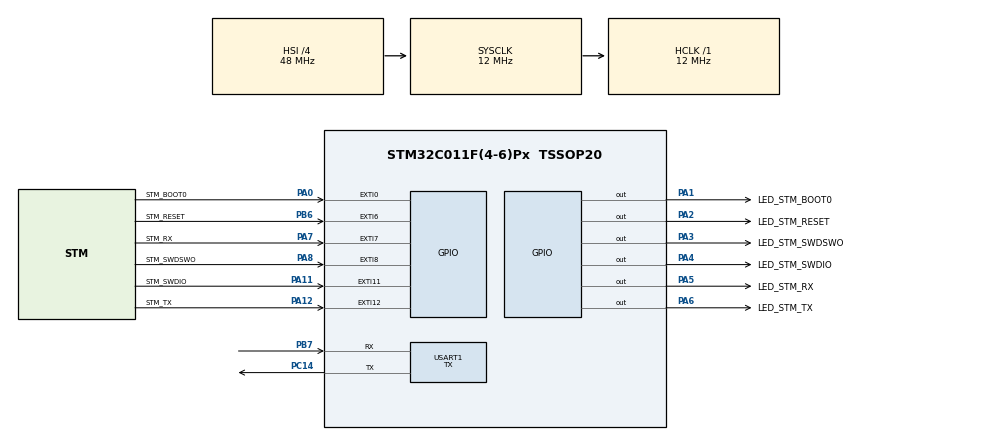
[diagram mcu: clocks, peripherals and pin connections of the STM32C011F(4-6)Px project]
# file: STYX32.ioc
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Mcu.Family=STM32C0
Mcu.Name=STM32C011F(4-6)Px
Mcu.Package=TSSOP20
NVIC.EXTI0_1_IRQn=true\:0\:0\:false\:false\:true\:true\:true\:true
NVIC.EXTI4_15_IRQn=true\:0\:0\:false\:false\:true\:true\:true\:true
PA0.GPIO_Label=STM_BOOT0
PA0.Signal=GPXTI0
PA1.GPIO_Label=LED_STM_BOOT0
PA1.Signal=GPIO_Output
PA11\ [PA9].GPIO_Label=STM_SWDIO
PA11\ [PA9].GPIO_ModeDefaultEXTI=GPIO_MODE_IT_FALLING
PA11\ [PA9].Signal=GPXTI11
PA12\ [PA10].GPIO_Label=STM_TX
PA12\ [PA10].GPIO_ModeDefaultEXTI=GPIO_MODE_IT_FALLING
PA12\ [PA10].GPIO_PuPd=GPIO_PULLUP
PA12\ [PA10].Signal=GPXTI12
PA13.Mode=Serial_Wire
PA13.Signal=DEBUG_SWDIO
PA14-BOOT0.Mode=Serial_Wire
PA14-BOOT0.Signal=DEBUG_SWCLK
PA2.GPIO_Label=LED_STM_RESET
PA2.Signal=GPIO_Output
PA3.GPIO_Label=LED_STM_SWDSWO
PA3.Signal=GPIO_Output
PA4.GPIO_Label=LED_STM_SWDIO
PA4.Signal=GPIO_Output
PA5.GPIO_Label=LED_STM_RX
PA5.Signal=GPIO_Output
PA6.GPIO_Label=LED_STM_TX
PA6.Signal=GPIO_Output
PA7.GPIO_Label=STM_RX
PA7.GPIO_ModeDefaultEXTI=GPIO_MODE_IT_FALLING
PA7.GPIO_PuPd=GPIO_PULLUP
PA7.Signal=GPXTI7
PA8.GPIO_Label=STM_SWDSWO
PA8.GPIO_ModeDefaultEXTI=GPIO_MODE_IT_FALLING
PA8.Signal=GPXTI8
PB6.GPIO_Label=STM_RESET
PB6.GPIO_ModeDefaultEXTI=GPIO_MODE_IT_FALLING
PB6.Signal=GPXTI6
PB7.Mode=Asynchronous
PB7.Signal=USART1_RX
PC14-OSCX_IN\ (PC14).Mode=Asynchronous
PC14-OSCX_IN\ (PC14).Signal=USART1_TX
ProjectManager.HeapSize=0x200
ProjectManager.StackSize=0x400
ProjectManager.TargetToolchain=STM32CubeIDE
RCC.ADCFreq_Value=12000000
RCC.AHBFreq_Value=12000000
RCC.CortexFreq_Value=12000000
RCC.EXTERNAL_CLOCK_VALUE=12288000
RCC.HCLKFreq_Value=12000000
RCC.HSE_VALUE=8000000
RCC.HSI_VALUE=48000000
RCC.LSE_VALUE=32768
RCC.SYSCLKFreq_VALUE=12000000
USART1.Mode=MODE_TX
USART1.VirtualMode-Asynchronous=VM_ASYNC
board=custom

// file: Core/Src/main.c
/* USER CODE BEGIN Header */
/**
 ******************************************************************************
 * @file           : main.c
 * @brief          : Main program body
 ******************************************************************************
 * @attention
 *
 * Copyright (c) 2026 STMicroelectronics.
 * All rights reserved.
 *
 * This software is licensed under terms that can be found in the LICENSE file
 * in the root directory of this software component.
 * If no LICENSE file comes with this software, it is provided AS-IS.
 *
 ******************************************************************************
 */
/* USER CODE END Header */
#include "main.h"

/* USER CODE BEGIN Includes */
#include <stdio.h>
/* USER CODE END Includes */

/* USER CODE BEGIN PD */

#define DELAY 150
#define MASK_STM_TX 32
#define MASK_STM_RX 16
#define MASK_STM_SWDIO 8
#define MASK_STM_SWDSWO 4
#define MASK_STM_RESET 2
#define MASK_STM_BOOT0 1

uint32_t START_TX = 0;
uint32_t START_RX = 0;
uint32_t START_SWDIO = 0;
uint32_t START_SWDSWO = 0;
uint32_t START_RESET = 0;
uint32_t START_BOOT0 = 0;

/* USER CODE END PD */

/* USER CODE BEGIN PM */

#define PUTCHAR_PROTOTYPE int __io_putchar(int ch)

/* USER CODE END PM */

UART_HandleTypeDef huart1;

/* USER CODE BEGIN PV */
volatile uint8_t led_status = 0x00;
/* USER CODE END PV */

void SystemClock_Config(void);
static void MX_GPIO_Init(void);
static void MX_USART1_UART_Init(void);

/* USER CODE BEGIN 0 */

/* USER CODE END PFP */

/* Private user code ---------------------------------------------------------*/
/* USER CODE BEGIN 0 */

PUTCHAR_PROTOTYPE {
	HAL_UART_Transmit(&huart1, (uint8_t*) &ch, 1, 0xFFFF);
	return ch;
}

void HAL_GPIO_EXTI_Rising_Callback(uint16_t pin) {
	if (pin == STM_BOOT0_Pin) {
		led_status |= MASK_STM_BOOT0;
	}
}

void HAL_GPIO_EXTI_Falling_Callback(uint16_t pin) {
	// UART lines idle high: the start bit is a falling edge
	if (pin == STM_TX_Pin) {
		led_status |= MASK_STM_TX;
	}
	if (pin == STM_RX_Pin) {
		led_status |= MASK_STM_RX;
	}
	if (pin == STM_SWDIO_Pin) {
		led_status |= MASK_STM_SWDIO;
	}
	if (pin == STM_SWDSWO_Pin) {
		led_status |= MASK_STM_SWDSWO;
	}
	if (pin == STM_RESET_Pin) {
		led_status |= MASK_STM_RESET;
	}
}

void leds_on() {
	uint8_t local = led_status;
	if (local == 0) {
		return;
	}
	led_status = 0;
	uint32_t now = HAL_GetTick() + DELAY;

	if (local & MASK_STM_TX) {
		START_TX = now;
		HAL_GPIO_WritePin(LED_STM_TX_GPIO_Port, LED_STM_TX_Pin, GPIO_PIN_SET);
	}
	if (local & MASK_STM_RX) {
		START_RX = now;
		HAL_GPIO_WritePin(LED_STM_RX_GPIO_Port, LED_STM_RX_Pin, GPIO_PIN_SET);
	}
	if (local & MASK_STM_SWDIO) {
		START_SWDIO = now;
		HAL_GPIO_WritePin(LED_STM_SWDIO_GPIO_Port, LED_STM_SWDIO_Pin, GPIO_PIN_SET);
	}
	if (local & MASK_STM_SWDSWO) {
		START_SWDSWO = now;
		HAL_GPIO_WritePin(LED_STM_SWDSWO_GPIO_Port, LED_STM_SWDSWO_Pin, GPIO_PIN_SET);
	}
	if (local & MASK_STM_RESET) {
		START_RESET = now;
		HAL_GPIO_WritePin(LED_STM_RESET_GPIO_Port, LED_STM_RESET_Pin, GPIO_PIN_SET);
	}
	if (local & MASK_STM_BOOT0) {
		START_BOOT0 = now;
		HAL_GPIO_WritePin(LED_STM_BOOT0_GPIO_Port, LED_STM_BOOT0_Pin, GPIO_PIN_SET);
	}
}

void leds_off() {
	uint32_t now = HAL_GetTick();

	if (now > START_TX && HAL_GPIO_ReadPin(STM_TX_GPIO_Port, STM_TX_Pin) != 0) {
		HAL_GPIO_WritePin(LED_STM_TX_GPIO_Port, LED_STM_TX_Pin, GPIO_PIN_RESET);
	}
	if (now > START_RX && HAL_GPIO_ReadPin(STM_RX_GPIO_Port, STM_RX_Pin) != 0) {
		HAL_GPIO_WritePin(LED_STM_RX_GPIO_Port, LED_STM_RX_Pin, GPIO_PIN_RESET);
	}
	if (now > START_SWDIO && HAL_GPIO_ReadPin(STM_SWDIO_GPIO_Port, STM_SWDIO_Pin) != 0) {
		HAL_GPIO_WritePin(LED_STM_SWDIO_GPIO_Port, LED_STM_SWDIO_Pin, GPIO_PIN_RESET);
	}
	if (now > START_SWDSWO && HAL_GPIO_ReadPin(STM_SWDSWO_GPIO_Port, STM_SWDSWO_Pin) != 0) {
		HAL_GPIO_WritePin(LED_STM_SWDSWO_GPIO_Port, LED_STM_SWDSWO_Pin, GPIO_PIN_RESET);
	}
	if (now > START_RESET && HAL_GPIO_ReadPin(STM_RESET_GPIO_Port, STM_RESET_Pin) != 0) {
		HAL_GPIO_WritePin(LED_STM_RESET_GPIO_Port, LED_STM_RESET_Pin, GPIO_PIN_RESET);
	}
	if (now > START_BOOT0 && HAL_GPIO_ReadPin(STM_BOOT0_GPIO_Port, STM_BOOT0_Pin) == 0) {
		HAL_GPIO_WritePin(LED_STM_BOOT0_GPIO_Port, LED_STM_BOOT0_Pin, GPIO_PIN_RESET);
	}
}

void led_init() {
	leds_off();
	HAL_Delay(300);
	HAL_GPIO_WritePin(LED_STM_TX_GPIO_Port, LED_STM_TX_Pin, GPIO_PIN_SET);
	HAL_Delay(300);
	HAL_GPIO_WritePin(LED_STM_RX_GPIO_Port, LED_STM_RX_Pin, GPIO_PIN_SET);
	HAL_Delay(300);
	HAL_GPIO_WritePin(LED_STM_SWDIO_GPIO_Port, LED_STM_SWDIO_Pin, GPIO_PIN_SET);
	HAL_Delay(300);
	HAL_GPIO_WritePin(LED_STM_SWDSWO_GPIO_Port, LED_STM_SWDSWO_Pin, GPIO_PIN_SET);
	HAL_Delay(300);
	HAL_GPIO_WritePin(LED_STM_RESET_GPIO_Port, LED_STM_RESET_Pin, GPIO_PIN_SET);
	HAL_Delay(300);
	HAL_GPIO_WritePin(LED_STM_BOOT0_GPIO_Port, LED_STM_BOOT0_Pin, GPIO_PIN_SET);

	HAL_Delay(300);
	HAL_GPIO_WritePin(LED_STM_TX_GPIO_Port, LED_STM_TX_Pin, GPIO_PIN_RESET);
	HAL_Delay(300);
	HAL_GPIO_WritePin(LED_STM_RX_GPIO_Port, LED_STM_RX_Pin, GPIO_PIN_RESET);
	HAL_Delay(300);
	HAL_GPIO_WritePin(LED_STM_SWDIO_GPIO_Port, LED_STM_SWDIO_Pin, GPIO_PIN_RESET);
	HAL_Delay(300);
	HAL_GPIO_WritePin(LED_STM_SWDSWO_GPIO_Port, LED_STM_SWDSWO_Pin, GPIO_PIN_RESET);
	HAL_Delay(300);
	HAL_GPIO_WritePin(LED_STM_RESET_GPIO_Port, LED_STM_RESET_Pin, GPIO_PIN_RESET);
	HAL_Delay(300);
	HAL_GPIO_WritePin(LED_STM_BOOT0_GPIO_Port, LED_STM_BOOT0_Pin, GPIO_PIN_RESET);
	HAL_Delay(300);
}

/* USER CODE END 0 */

int main(void) {

	/* MCU Configuration--------------------------------------------------------*/

	/* Reset of all peripherals, Initializes the Flash interface and the Systick. */
	HAL_Init();

	/* Configure the system clock */
	SystemClock_Config();

	/* Initialize all configured peripherals */
	MX_GPIO_Init();
	MX_USART1_UART_Init();
	/* USER CODE BEGIN 2 */

	HAL_Delay(500);
	printf("\n\nSTYX32 started...\n");
	led_init();

	/* USER CODE END 2 */

	/* Infinite loop */
	/* USER CODE BEGIN WHILE */
	while (1) {
		leds_on();
		leds_off();
		/* USER CODE END WHILE */

	}
}

void SystemClock_Config(void) {
	RCC_OscInitTypeDef RCC_OscInitStruct = { 0 };
	RCC_ClkInitTypeDef RCC_ClkInitStruct = { 0 };

	__HAL_FLASH_SET_LATENCY(FLASH_LATENCY_0);

	/** Initializes the RCC Oscillators according to the specified parameters
	 * in the RCC_OscInitTypeDef structure.
	 */
	RCC_OscInitStruct.OscillatorType = RCC_OSCILLATORTYPE_HSI;
	RCC_OscInitStruct.HSIState = RCC_HSI_ON;
	RCC_OscInitStruct.HSIDiv = RCC_HSI_DIV4;
	RCC_OscInitStruct.HSICalibrationValue = RCC_HSICALIBRATION_DEFAULT;
	if (HAL_RCC_OscConfig(&RCC_OscInitStruct) != HAL_OK) {
		Error_Handler();
	}

	/** Initializes the CPU, AHB and APB buses clocks
	 */
	RCC_ClkInitStruct.ClockType = RCC_CLOCKTYPE_HCLK | RCC_CLOCKTYPE_SYSCLK | RCC_CLOCKTYPE_PCLK1;
	RCC_ClkInitStruct.SYSCLKSource = RCC_SYSCLKSOURCE_HSI;
	RCC_ClkInitStruct.SYSCLKDivider = RCC_SYSCLK_DIV1;
	RCC_ClkInitStruct.AHBCLKDivider = RCC_HCLK_DIV1;
	RCC_ClkInitStruct.APB1CLKDivider = RCC_APB1_DIV1;

	if (HAL_RCC_ClockConfig(&RCC_ClkInitStruct, FLASH_LATENCY_0) != HAL_OK) {
		Error_Handler();
	}
}

static void MX_USART1_UART_Init(void) {

	huart1.Instance = USART1;
	huart1.Init.BaudRate = 115200;
	huart1.Init.WordLength = UART_WORDLENGTH_8B;
	huart1.Init.StopBits = UART_STOPBITS_1;
	huart1.Init.Parity = UART_PARITY_NONE;
	huart1.Init.Mode = UART_MODE_TX;
	huart1.Init.HwFlowCtl = UART_HWCONTROL_NONE;
	huart1.Init.OverSampling = UART_OVERSAMPLING_16;
	huart1.Init.OneBitSampling = UART_ONE_BIT_SAMPLE_DISABLE;
	huart1.Init.ClockPrescaler = UART_PRESCALER_DIV1;
	huart1.AdvancedInit.AdvFeatureInit = UART_ADVFEATURE_NO_INIT;
	if (HAL_UART_Init(&huart1) != HAL_OK) {
		Error_Handler();
	}
	if (HAL_UARTEx_SetTxFifoThreshold(&huart1, UART_TXFIFO_THRESHOLD_1_8) != HAL_OK) {
		Error_Handler();
	}
	if (HAL_UARTEx_SetRxFifoThreshold(&huart1, UART_RXFIFO_THRESHOLD_1_8) != HAL_OK) {
		Error_Handler();
	}
	if (HAL_UARTEx_DisableFifoMode(&huart1) != HAL_OK) {
		Error_Handler();
	}

}

static void MX_GPIO_Init(void) {
	GPIO_InitTypeDef GPIO_InitStruct = { 0 };

	/* GPIO Ports Clock Enable */
	__HAL_RCC_GPIOB_CLK_ENABLE();
	__HAL_RCC_GPIOC_CLK_ENABLE();
	__HAL_RCC_GPIOF_CLK_ENABLE();
	__HAL_RCC_GPIOA_CLK_ENABLE();

	/*Configure GPIO pin Output Level */
	HAL_GPIO_WritePin(GPIOA,
	LED_STM_BOOT0_Pin | LED_STM_RESET_Pin | LED_STM_SWDSWO_Pin | LED_STM_SWDIO_Pin | LED_STM_RX_Pin | LED_STM_TX_Pin,
			GPIO_PIN_RESET);

	/*Configure GPIO pin : PC15 */
	GPIO_InitStruct.Pin = GPIO_PIN_15;
	GPIO_InitStruct.Mode = GPIO_MODE_ANALOG;
	GPIO_InitStruct.Pull = GPIO_NOPULL;
	HAL_GPIO_Init(GPIOC, &GPIO_InitStruct);

	/*Configure GPIO pin : PF2 */
	GPIO_InitStruct.Pin = GPIO_PIN_2;
	GPIO_InitStruct.Mode = GPIO_MODE_ANALOG;
	GPIO_InitStruct.Pull = GPIO_NOPULL;
	HAL_GPIO_Init(GPIOF, &GPIO_InitStruct);

	/*Configure GPIO pin : STM_BOOT0_Pin */
	GPIO_InitStruct.Pin = STM_BOOT0_Pin;
	GPIO_InitStruct.Mode = GPIO_MODE_IT_RISING;
	GPIO_InitStruct.Pull = GPIO_NOPULL;
	HAL_GPIO_Init(STM_BOOT0_GPIO_Port, &GPIO_InitStruct);

	/*Configure GPIO pins : LED_STM_BOOT0_Pin LED_STM_RESET_Pin LED_STM_SWDSWO_Pin LED_STM_SWDIO_Pin
	 LED_STM_RX_Pin LED_STM_TX_Pin */
	GPIO_InitStruct.Pin = LED_STM_BOOT0_Pin | LED_STM_RESET_Pin | LED_STM_SWDSWO_Pin | LED_STM_SWDIO_Pin
			| LED_STM_RX_Pin | LED_STM_TX_Pin;
	GPIO_InitStruct.Mode = GPIO_MODE_OUTPUT_PP;
	GPIO_InitStruct.Pull = GPIO_NOPULL;
	GPIO_InitStruct.Speed = GPIO_SPEED_FREQ_LOW;
	HAL_GPIO_Init(GPIOA, &GPIO_InitStruct);

	/*Configure GPIO pins : STM_RX_Pin STM_TX_Pin */
	GPIO_InitStruct.Pin = STM_RX_Pin | STM_TX_Pin;
	GPIO_InitStruct.Mode = GPIO_MODE_IT_FALLING;
	GPIO_InitStruct.Pull = GPIO_PULLUP;
	HAL_GPIO_Init(GPIOA, &GPIO_InitStruct);

	/*Configure GPIO pins : STM_SWDSWO_Pin STM_SWDIO_Pin */
	GPIO_InitStruct.Pin = STM_SWDSWO_Pin | STM_SWDIO_Pin;
	GPIO_InitStruct.Mode = GPIO_MODE_IT_FALLING;
	GPIO_InitStruct.Pull = GPIO_NOPULL;
	HAL_GPIO_Init(GPIOA, &GPIO_InitStruct);

	/*Configure GPIO pin : STM_RESET_Pin */
	GPIO_InitStruct.Pin = STM_RESET_Pin;
	GPIO_InitStruct.Mode = GPIO_MODE_IT_FALLING;
	GPIO_InitStruct.Pull = GPIO_NOPULL;
	HAL_GPIO_Init(STM_RESET_GPIO_Port, &GPIO_InitStruct);

	/* EXTI interrupt init*/
	HAL_NVIC_SetPriority(EXTI0_1_IRQn, 0, 0);
	HAL_NVIC_EnableIRQ(EXTI0_1_IRQn);

	HAL_NVIC_SetPriority(EXTI4_15_IRQn, 0, 0);
	HAL_NVIC_EnableIRQ(EXTI4_15_IRQn);

}

void Error_Handler(void) {
	__disable_irq();
	while (1) {
	}
}
